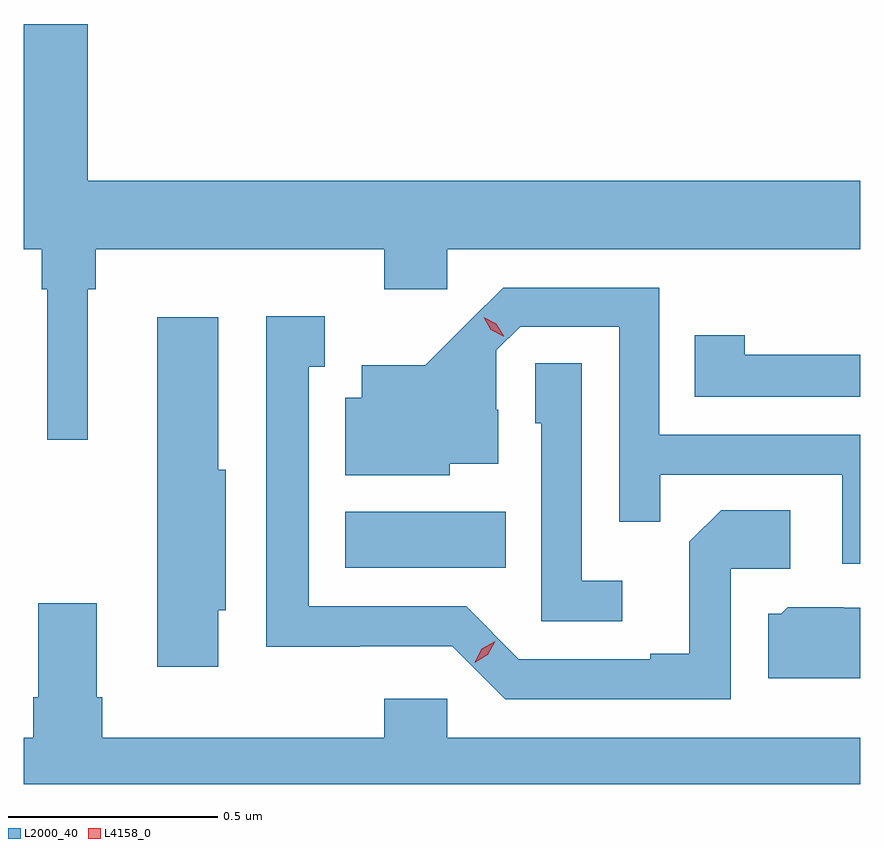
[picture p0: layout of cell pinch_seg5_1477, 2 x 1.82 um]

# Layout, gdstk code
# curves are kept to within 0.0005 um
import gdstk
lib = gdstk.Library(unit=1e-6, precision=1e-09)
def R(c, l, rs):  # rectangles x0, y0, x1, y1
    for r in rs: c.add(gdstk.rectangle(r[:2], r[2:], *l))
def P(c, l, *ps):  # polygons
    for p in ps: c.add(gdstk.Polygon(p, *l))
L2000_40 = (2000, 40)
L4158_0 = (4158, 0)

pinch_seg5_1477 = lib.new_cell('pinch_seg5_1477')
R(pinch_seg5_1477, L2000_40, [(117.836,894.626,118.22,894.76)])
P(pinch_seg5_1477, L2000_40, [(117.22,895.292),(117.239,895.292),(117.239,895.388),(117.929,895.388),(117.929,895.293),(118.08,895.293),(118.08,895.388),(119.067,895.388),(119.067,895.552),(117.22,895.552),(117.22,895.927),(117.067,895.927),(117.067,895.388),(117.11,895.388),(117.11,895.292),(117.123,895.292),(117.123,894.933),(117.22,894.933)],
  [(119.067,894.945),(118.587,894.945),(118.587,895.296),(118.214,895.296),(118.027,895.111),(117.875,895.111),(117.875,895.033),(117.836,895.033),(117.836,894.848),(118.086,894.848),(118.086,894.875),(118.201,894.875),(118.201,895.004),(118.197,895.004),(118.197,895.146),(118.254,895.203),(118.491,895.203),(118.491,894.736),(118.589,894.736),(118.589,894.849),(119.025,894.849),(119.025,894.636),(119.067,894.636)],
  [(118.758,894.624),(118.9,894.624),(118.9,894.764),(118.735,894.764),(118.659,894.688),(118.659,894.421),(118.565,894.421),(118.565,894.408),(118.251,894.408),(118.125,894.534),(117.748,894.534),(117.748,895.107),(117.787,895.107),(117.787,895.228),(117.647,895.228),(117.647,894.437),(117.87,894.437),(117.87,894.438),(118.092,894.438),(118.218,894.312),(118.758,894.312)],
  [(117.532,894.525),(117.55,894.525),(117.55,894.861),(117.532,894.861),(117.532,895.225),(117.386,895.225),(117.386,894.39),(117.532,894.39)],
  [(119.067,895.136),(118.791,895.136),(118.791,895.183),(118.672,895.183),(118.672,895.035),(119.067,895.035)],
  [(118.498,894.595),(118.401,894.595),(118.401,895.115),(118.29,895.115),(118.29,894.972),(118.305,894.972),(118.305,894.498),(118.498,894.498)],
  [(119.067,894.22),(118.08,894.22),(118.08,894.313),(117.929,894.313),(117.929,894.22),(117.254,894.22),(117.254,894.316),(117.241,894.316),(117.241,894.541),(117.101,894.541),(117.101,894.316),(117.089,894.316),(117.089,894.22),(117.067,894.22),(117.067,894.109),(119.067,894.109)],
  [(119.067,894.531),(119.028,894.531),(119.028,894.532),(118.894,894.532),(118.878,894.516),(118.847,894.516),(118.847,894.362),(119.067,894.362)])
P(pinch_seg5_1477, L4158_0, [(118.214,895.18),(118.184,895.196),(118.167,895.225),(118.167,895.226),(118.167,895.226),(118.197,895.21),(118.215,895.181),(118.215,895.18)],
  [(118.145,894.399),(118.145,894.4),(118.162,894.432),(118.194,894.451),(118.194,894.451),(118.194,894.451),(118.177,894.418),(118.145,894.399)])

lib.write_gds('pinch_seg5_1477.gds')
